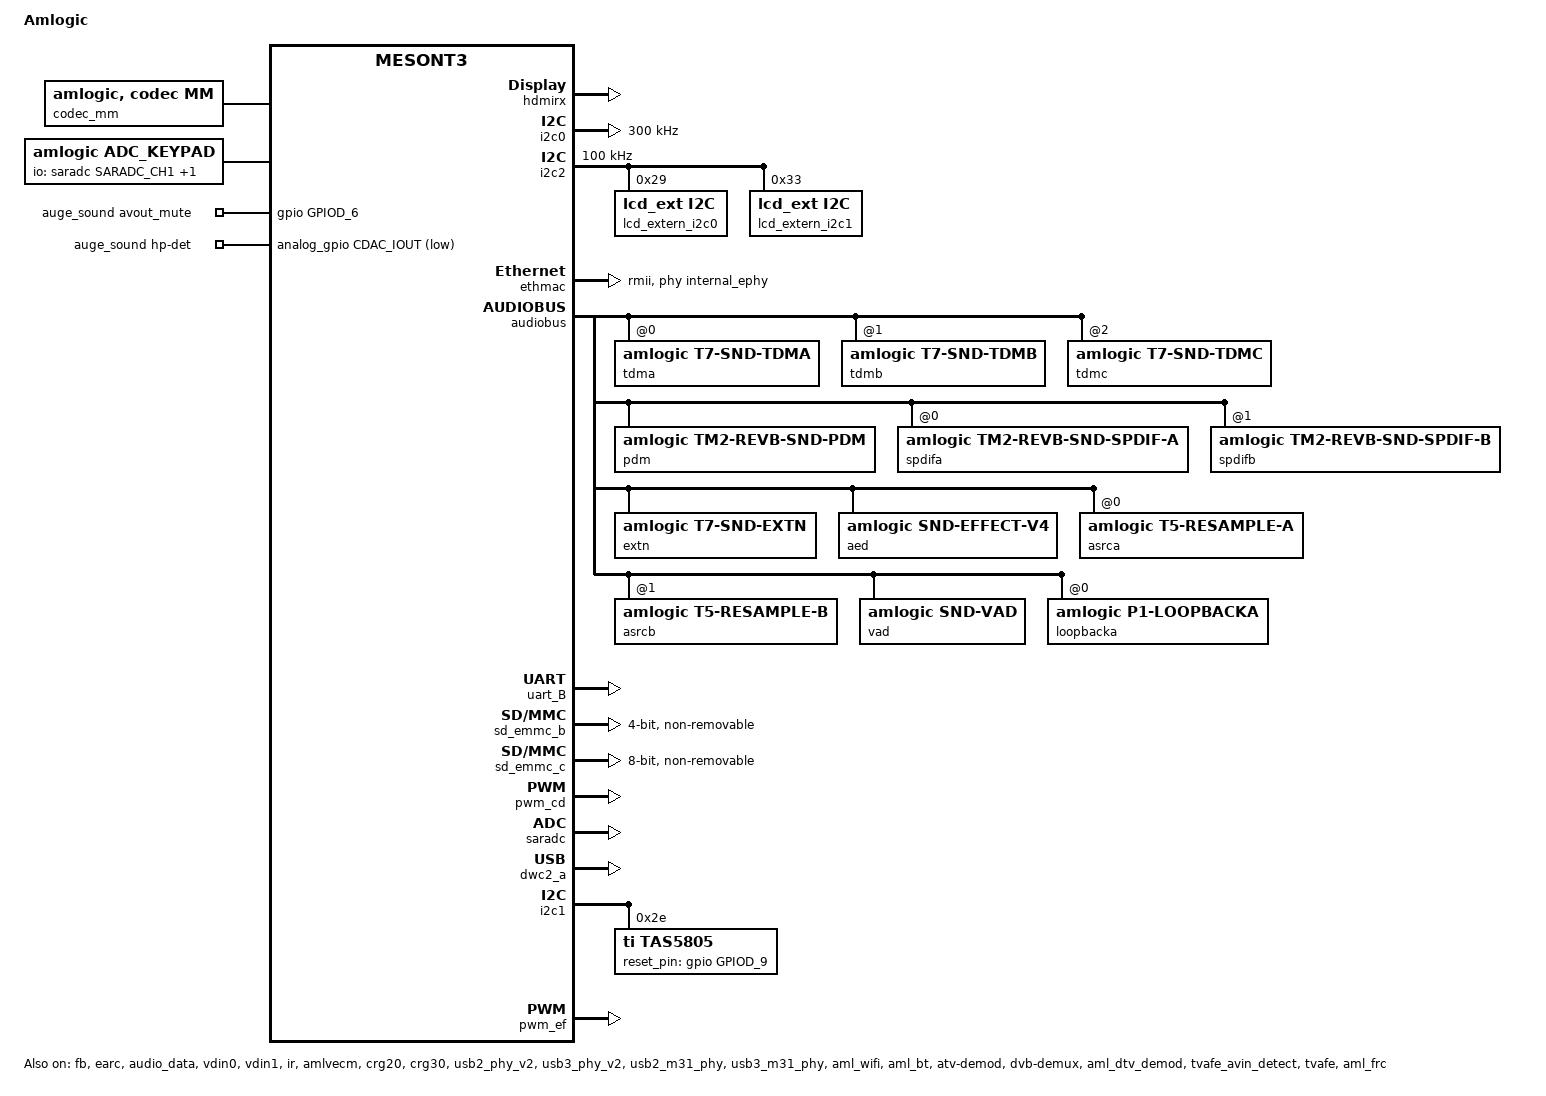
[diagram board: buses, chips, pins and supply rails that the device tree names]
// SPDX-License-Identifier: (GPL-2.0+ OR MIT)
/*
 * Copyright (c) 2019 Amlogic, Inc. All rights reserved.
 */

/dts-v1/;

#include "mesont3.dtsi"
#include "partition_mbox_ab.dtsi"
#include "mesont3_ar331-panel.dtsi"

/ {
	model = "Amlogic";
	amlogic-dt-id = "t3_t965d4_ar331-4g";
	compatible = "amlogic, t3";
	interrupt-parent = <&gic>;
	#address-cells = <2>;
	#size-cells = <2>;

	aliases {
		serial0 = &uart_B;
		serial1 = &uart_A;
		serial2 = &uart_C;
		serial3 = &uart_D;
		tsensor0 = &cpu_tsensor;
		tsensor1 = &nna_tsensor;
		tsensor2 = &vpu_tsensor;
		spi0 = &spifc;
		spi1 = &spicc0;
		spi2 = &spicc1;
		spi3 = &spicc2;
	};

	memory@00000000 {
		device_type = "memory";
		linux,usable-memory = <0x0 0x000000 0x0 0xe0000000
				       0x1 0x000000 0x0 0x20000000>;
	};

	reserved-memory {
		#address-cells = <2>;
		#size-cells = <2>;
		ranges;

		ramoops@0x07400000 {
			compatible = "ramoops";
			reg = <0x0 0x07400000 0x0 0x00100000>;
			record-size = <0x20000>;
			console-size = <0x40000>;
			ftrace-size = <0x80000>;
			pmsg-size = <0x10000>;
			bconsole-size = <0x10000>;
		};

		secmon_reserved:linux,secmon {
			compatible = "shared-dma-pool";
			reusable;
			size = <0x0 0x400000>;
			alignment = <0x0 0x400000>;
			alloc-ranges = <0x0 0x05000000 0x0 0x400000>;
			clear-map;
		};

		dsp_fw_reserved:linux,dsp_fw {
			compatible = "shared-dma-pool";
			reusable;
			/* for sync of dsp fw, fix it to 0x30000000*/
			size = <0x0 0x00800000>;
			alignment = <0x0 0x00400000>;
			alloc-ranges = <0x0 0x30000000 0x0 0x00800000>;
		};

		logo_reserved:linux,meson-fb {
			compatible = "shared-dma-pool";
			reusable;
			/* keep sync with fb, fox example:logo_addr = "0x7f800000"*/
			size = <0x0 0x800000>;
			alignment = <0x0 0x400000>;
			alloc-ranges = <0x0 0x7f800000 0x0 0x800000>;
		};

		lcd_tcon_reserved:linux,lcd_tcon {
			compatible = "shared-dma-pool";
			reusable;
			/* alloc-ranges start should not be 0x0*/
			size = <0x0 0x00c00000>;
			alignment = <0x0 0x400000>;
			alloc-ranges = <0x0 0x3ec00000 0x0 0x00c00000>;
		};

		ion_cma_reserved:linux,ion-dev {
			compatible = "shared-dma-pool";
			reusable;
			size = <0x0 0x8000000>;
			alignment = <0x0 0x400000>;
			alloc-ranges = <0x0 0x0 0x0 0xe0000000>;
		};
		/* secure ion for gpu,advice size is 0x8000000 */
		ion_secure_reserved:linux,ion-secure {
			compatible = "amlogic, ion-secure-mem";
			no-map;
			size = <0x0 0x0000000>;
			alignment = <0x0 0x400000>;
		};
		ion_fb_reserved:linux,ion-fb {
			compatible = "shared-dma-pool";
			reusable;
			/* 1920x1080x4x3 round up 4M align */
			size = <0x0 0x1c00000>;
			alignment = <0x0 0x400000>;
			alloc-ranges = <0x0 0x0 0x0 0xe0000000>;
		};

		/*  vdin0 CMA pool */
		/*vdin0_cma_reserved:linux,vdin0_cma {*/
		/*	compatible = "shared-dma-pool";*/
		/*	reusable;*/
			/* up to 1920x1080 yuv422 8bit and 5 buffers
			 * 1920x1080x2x5 = 20 M
			 */
		/*	size = <0x0 0x01400000>;*/
		/*	alignment = <0x0 0x400000>;*/
		/*};*/
		/*  vdin1 CMA pool */
		vdin1_cma_reserved:linux,vdin1_cma {
			compatible = "shared-dma-pool";
			reusable;
			/* up to 1920x1080 yuv422 8bit and 5 buffers
			 * 1920x1080x2x5 = 20 M
			 */
			size = <0x0 0x01400000>;
			alignment = <0x0 0x400000>;
			alloc-ranges = <0x0 0x0 0x0 0xe0000000>;
		};

		codec_mm_cma:linux,codec_mm_cma {
			compatible = "shared-dma-pool";
			reusable;
			/* ion_codec_mm max can alloc size 80M*/
			size = <0x0 0x1BC00000>;
			alignment = <0x0 0x400000>;
			linux,contiguous-region;
			alloc-ranges = <0x0 0x0 0x0 0xe0000000>;
		};

		/*di CMA pool */
		di_cma_reserved:linux,di_cma {
			compatible = "shared-dma-pool";
			reusable;
			/* buffer_size = 3621952(yuv422 8bit)
			 *  | 4736064(yuv422 10bit)
			 *  | 4074560(yuv422 10bit full pack mode)
			 * 10x3621952=34.6M(0x23) support 8bit
			 * 10x4736064=45.2M(0x2e) support 12bit
			 * 10x4074560=40M(0x28) support 10bit
			 */
			//size = <0x0 0x0B000000>;
			size = <0x0 0x0>;
			alignment = <0x0 0x400000>;
		};
		/* codec shared reserved */
		codec_mm_reserved:linux,codec_mm_reserved {
			compatible = "amlogic, codec-mm-reserved";
			size = <0x0 0x0>;
			alignment = <0x0 0x100000>;
			//no-map;
		};

		/* POST PROCESS MANAGER */
		ppmgr_reserved:linux,ppmgr {
			compatible = "amlogic, ppmgr_memory";
			size = <0x0 0x0>;
		};

		picdec_cma_reserved:linux,picdec {
			compatible = "shared-dma-pool";
			reusable;
			size = <0x0 0x0>;
			alignment = <0x0 0x0>;
			linux,contiguous-region;
		};

		frc_cma_reserved:linux,frc_cma {
			compatible = "shared-dma-pool";
			reusable;
			/* frc:size need 4M alignment
			 * 1080P 16 buffer:88Mhz (0x5800000)
			 * 4k 16 buffer:348Mhz (0x15c00000)
			 * 400Mhz (0x19000000)
			 * 384Mhz (0x18000000)
			 * 368Mhz (0x17000000)
			 */
			size = <0x0 0x0a000000>;
			alignment = <0x0 0x400000>;
			linux,contiguous-region;
			alloc-ranges = <0x0 0x0 0x0 0xe0000000>;
			/*alloc-ranges = <0x0 0x0 0x0 0x3f800000>;*/
		};

		demod_cma_reserved:linux,demod_cma {
			compatible = "shared-dma-pool";
			reusable;
			/* 40M */
			size = <0x0 0x02800000>;
			alignment = <0x0 0x400000>;
			linux,contiguous-region;
			alloc-ranges = <0x0 0x0 0x0 0xe0000000>;
		};

		ldc_mem_reserved:linux,ldc_mem {
			compatible = "shared-dma-pool";
			reusable;
			size = <0x0 0x400000>;
			alignment = <0x0 0x400000>;
			alloc-ranges = <0x0 0x0 0x0 0xe0000000>;
		};
	};
	codec_mm {
		compatible = "amlogic, codec, mm";
		memory-region = <&codec_mm_cma &codec_mm_reserved>;
		dev_name = "codec_mm";
		status = "okay";
	};

	ionvideo {
		compatible = "amlogic, ionvideo";
		dev_name = "ionvideo";
		status = "okay";
	};

	picdec {
		compatible = "amlogic, picdec";
		memory-region = <&picdec_cma_reserved>;
		dev_name = "picdec";
		status = "okay";
	};
	ppmgr {
		compatible = "amlogic, ppmgr";
		memory-region = <&ppmgr_reserved>;
		//ary interrupts = <0 285 1>;
		//ary interrupt-names = "decontour_pre";
		status = "okay";
	};
	vdetect {
		compatible = "amlogic, vdetect";
		dev_name = "vdetect";
		status = "okay";
	};

	video_queue {
		compatible = "amlogic, video_queue";
		dev_name = "videoqueue";
		status = "okay";
	};
	amlvideo2_0 {
		compatible = "amlogic, amlvideo2";
		dev_name = "amlvideo2";
		status = "okay";
		amlvideo2_id = <0>;
		cma_mode = <1>;
	};

	amlvideo2_1 {
		compatible = "amlogic, amlvideo2";
		dev_name = "amlvideo2";
		status = "okay";
		amlvideo2_id = <1>;
		cma_mode = <1>;
	};

	multi-di {
		//status = "okay";
		/***************************************************
		 * memory: default is 4
		 *	0:use reserved;
		 *	1:use cma;
		 *	2:use cma as reserved
		 *  4:use codec mem
		 ***************************************************/
		//flag_cma = <4>;//t5d unsupport 4K,di 1CH need 42M
		//memory-region = <&di_cma_reserved>;
		/***************************************************
		 * clock-range: <min max>
		 *	default: <334 334>
		 ***************************************************/
		//clock-range = <334 334>;
		/***************************************************
		 * en_4k: t5d not support 4k
		 ***************************************************/
		en_4k = <1>;
		keep_dec_vf = <2>;
		po_fmt = <6>;
		/***************************************************
		 * post_nub: default is 11 (T7/T3/SC2/S4 new path)
		 * local 7*4075520 = 28
		 * post 11*5222400 = 56
		 ***************************************************/
		post_nub = <11>;
		/***************************************************
		 * 0:not support
		 * bit 0: for 4k
		 * bit 1: for 1080p
		 ***************************************************/
		alloc_sct = <1>;
		/***************************************************
		 * hf: default is 0 (T7/T3/SC2/S4 new path)
		 * 0:not enable;
		 * 1: enable
		 ***************************************************/
		//hf = <1>;
	};

	/* for external keypad */
	adc_keypad {
		compatible = "amlogic, adc_keypad";
		status = "okay";
		key_name = "power","vol-","vol+","enter","menu","source","exit";
		key_num = <7>;
		io-channels = <&saradc SARADC_CH1>,<&saradc SARADC_CH2>;
		io-channel-names = "key-chan-1", "key-chan-2";
		key_chan = <SARADC_CH1 SARADC_CH1 SARADC_CH1 SARADC_CH1
			SARADC_CH2 SARADC_CH2 SARADC_CH2>;
		key_code = <116 114 115 28 139 466 174>;
		key_val = <0 143 266 389 0 143 266>; //val=voltage/1800mV*1023
		key_tolerance = <40 40 40 40 40 40 40>;
	};

	provisionkey {
		compatible = "amlogic, provisionkey";
		status = "disabled";
		key-permit-default = "write";
		KEY_PROVISION_XXX { };
	};//End provisionkey

	unifykey {
		compatible = "amlogic,unifykey";
		status = "okay";

		unifykey-num = <26>;
		unifykey-index-0 = <&keysn_0>;
		unifykey-index-1 = <&keysn_1>;
		unifykey-index-2 = <&keysn_2>;
		unifykey-index-3 = <&keysn_3>;
		unifykey-index-4 = <&keysn_4>;
		unifykey-index-5 = <&keysn_5>;
		unifykey-index-6 = <&keysn_6>;
		unifykey-index-7 = <&keysn_7>;
		unifykey-index-8 = <&keysn_8>;
		unifykey-index-9 = <&keysn_9>;
		unifykey-index-10= <&keysn_10>;
		unifykey-index-11 = <&keysn_11>;
		unifykey-index-12 = <&keysn_12>;
		unifykey-index-13 = <&keysn_13>;
		unifykey-index-14 = <&keysn_14>;
		unifykey-index-15 = <&keysn_15>;
		unifykey-index-16 = <&keysn_16>;
		unifykey-index-17 = <&keysn_17>;
		unifykey-index-18 = <&keysn_18>;
		unifykey-index-19 = <&keysn_19>;
		unifykey-index-20 = <&keysn_20>;
		unifykey-index-21 = <&keysn_21>;
		unifykey-index-22 = <&keysn_22>;
		unifykey-index-23 = <&keysn_23>;
		unifykey-index-24 = <&keysn_24>;
		unifykey-index-25 = <&keysn_25>;

		keysn_0: key_0{
			key-name = "usid";
			key-device = "normal";
			key-permit = "read","write","del";
		};
		keysn_1:key_1{
			key-name = "mac";
			key-device  = "normal";
			key-permit = "read","write","del";
		};
		keysn_2:key_2{
			key-name = "hdcp";
			key-device = "secure";
			key-type  = "sha1";
			key-permit = "read","write","del";
		};
		keysn_3:key_3{
			key-name = "secure_boot_set";
			key-device = "efuse";
			key-permit = "write";
		};
		keysn_4:key_4{
			key-name = "mac_bt";
			key-device = "normal";
			key-permit = "read","write","del";
			key-type  = "mac";
		};
		keysn_5:key_5{
			key-name = "mac_wifi";
			key-device = "normal";
			key-permit = "read","write","del";
			key-type  = "mac";
		};
		keysn_6:key_6{
			key-name = "hdcp2_tx";
			key-device = "normal";
			key-permit = "read","write","del";
		};
		keysn_7:key_7{
			key-name = "hdcp2_rx";
			key-device = "normal";
			key-permit = "read","write","del";
		};
		keysn_8:key_8{
			key-name = "widevinekeybox";
			key-device = "secure";
			key-type = "sha1";
			key-permit = "read","write","del";
		};
		keysn_9:key_9{
			key-name = "deviceid";
			key-device = "normal";
			key-permit = "read","write","del";
		};
		keysn_10:key_10{
			key-name = "hdcp22_fw_private";
			key-device = "secure";
			key-permit = "read","write","del";
		};
		keysn_11:key_11{
			key-name = "hdcp22_rx_private";
			key-device = "secure";
			key-permit = "read","write","del";
		};
		keysn_12:key_12{
			key-name = "hdcp22_rx_fw";
			key-device = "normal";
			key-permit = "read","write","del";
		};
		keysn_13:key_13{
			key-name = "hdcp14_rx";
			key-device = "normal";
			key-type  = "sha1";
			key-permit = "read","write","del";
		};
		keysn_14:key_14{
			key-name = "prpubkeybox";// PlayReady
			key-device = "secure";
			key-permit = "read","write","del";
		};
		keysn_15:key_15{
			key-name = "prprivkeybox";// PlayReady
			key-device = "secure";
			key-permit = "read","write","del";
		};
		keysn_16:key_16{
			key-name = "lcd";
			key-device = "normal";
			key-permit = "read","write","del";
		};
		keysn_17:key_17{
			key-name = "lcd_extern";
			key-device = "normal";
			key-permit = "read","write","del";
		};
		keysn_18:key_18{
			key-name = "backlight";
			key-device = "normal";
			key-permit = "read","write","del";
		};
		keysn_19:key_19{
			key-name = "lcd_tcon";
			key-device = "normal";
			key-permit = "read","write","del";
		};
		keysn_20:key_20{
			key-name = "attestationkeybox";// attestation key
			key-device = "secure";
			key-permit = "read","write","del";
		};
		keysn_21:key_21{
			key-name = "lcd_tcon_spi";
			key-device = "normal";
			key-permit = "read","write","del";
		};
		keysn_22:key_22{
			key-name = "attestationdevidbox";// attest dev id box
			key-device = "secure";
			key-permit = "read","write","del";
		};
		keysn_23:key_23{
			key-name = "oemkey";
			key-device = "normal";
			key-permit = "read","write","del";
		};
		keysn_24:key_24{
			key-name = "ldim_dev";
			key-device = "normal";
			key-permit = "read","write","del";
		};
		keysn_25:key_25{
			key-name = "lcd_optical";
			key-device = "normal";
			key-permit = "read","write","del";
		};
	}; /* End unifykey */

	cvbsout {
		compatible = "amlogic, cvbsout-t3";
		status = "okay";
		/* clk path */
		/* 0:vid_pll vid2_clk */
		/* 2:vid_pll vid1_clk */
		clk_path = <0>;

		/* performance: reg_address, reg_value */
		/* tm2 */
		performance = <0x1bf0  0x9
			0x1b56  0x333
			0x1b12  0x8080
			0x1b05  0xfd
			0x1c59  0xf850
			0xffff  0x0>; /* ending flag */
		performance_sarft = <0x1bf0  0x9
			0x1b56  0x333
			0x1b12  0x0
			0x1b05  0x9
			0x1c59  0xfc48
			0xffff  0x0>; /* ending flag */
		performance_revB_telecom = <0x1bf0  0x9
			0x1b56  0x546
			0x1b12  0x8080
			0x1b05  0x9
			0x1c59  0xf850
			0xffff  0x0>; /* ending flag */
	};

	hdmirx {
		compatible = "amlogic, hdmirx_t3";
		#address-cells=<1>;
		#size-cells=<1>;
		/*memory-region = <&hdmirx_emp_cma_reserved>;*/
		status = "okay";
		pinctrl-names = "hdmirx_pins";
		pinctrl-0 = <&hdmirx_a_mux &hdmirx_b_mux
			&hdmirx_c_mux>;
		repeat = <0>;
		power-domains = <&pwrdm PDID_T3_HDMIRX>;
		interrupts = <0 57 IRQ_TYPE_LEVEL_HIGH>;
		clocks =<&clkc CLKID_HDMIRX_CFG>,
			   <&clkc CLKID_HDMIRX_ACR>,
			   <&clkc CLKID_HDMIRX_METER>,
			   <&clkc CLKID_HDMIRX_2M>,
			   <&clkc CLKID_HDMIRX_5M>,
			   <&clkc CLKID_HDMIRX_HDCP>,
			   <&xtal>,
			   <&clkc CLKID_FCLK_DIV4>,
			   <&clkc CLKID_FCLK_DIV5>;
		clock-names = "hdmirx_cfg_clk",
				"cts_hdmirx_acr_ref_clk",
				"cts_hdmirx_meter_clk",
				"cts_hdmirx_2m_clk",
				"cts_hdmirx_5m_clk",
				"cts_hdmirx_hdcp2x_eclk",
				"xtal",
				"fclk_div4",
				"fclk_div5";
		hdmirx_id = <0>;
		en_4k_2_2k = <0>;
		hpd_low_cec_off = <0>;
		arc_port = <1>;
		vrr_range_dynamic_update_en = <1>;
		/* bit4: enable feature, bit3~0: port number */
		disable_port = <0x0>;
		/* MAP_ADDR_MODULE_CBUS */
		/* MAP_ADDR_MODULE_HIU */
		/* MAP_ADDR_MODULE_HDMIRX_CAPB3 */
		/* MAP_ADDR_MODULE_SEC_AHB */
		/* MAP_ADDR_MODULE_SEC_AHB2 */
		/* MAP_ADDR_MODULE_APB4 */
		/* MAP_ADDR_MODULE_TOP */
		/* MAP_ADDR_MODULE_CLK_CTRL */
		/* MAP_ADDR_MODULE_ANA_CTRL */
		reg = < 0x0 0x0 0x0 0x0
			0x0 0xff63C000 0x0 0x2000
			0x0 0xffe0d000 0x0 0x2000
			0x0 0x0 0x0 0x0
			0x0 0x0 0x0 0x0
			0x0 0x0 0x0 0x0
			0x0 0xfe398000 0x0 0x18000
			0x0 0xfe000000 0x0 0x1fff
			0x0 0xfe008000 0x280 0x334>;
	};

	atv-demod {
		compatible = "amlogic, atv-demod";
		status = "okay";
		btsc_sap_mode = <1>;
		interrupts = <0 94 1>;
		pinctrl-names="atvdemod_agc_pins";
		pinctrl-0=<&atvdemod_agc_pins>;
		reg = <0x0 0xfe0be000 0x0 0x2000 /* demod reg */
				0x0 0xfe000000 0x0 0x2000 /* hiu reg */
				0x0 0x0 0x0 0x0 /* periphs reg */
				0x0 0xfe0bc000 0x0 0x2000>; /* adec reg */
		reg_23cf = <0x88188832>;
		/*default:0x88188832;r840 on haier:0x48188832*/
	};

	dvb-extern {
		compatible = "amlogic, dvb-extern";
		dev_name = "dvb-extern";
		status = "okay";

		fe_num = <1>;
		fe0_demod = "internal";

		tuner_num = <2>; /* tuner number, multi tuner support */
		tuner0_name = "r842_tuner";
		tuner0_i2c_adap = <&i2c0>;
		tuner0_i2c_addr = <0xF6>; /* 8 bits */
		tuner0_xtal = <1>; /* 0: 16MHz, 1: 24MHz */
		tuner0_xtal_mode = <3>;
					/* NO_SHARE_XTAL(0)
					 * SLAVE_XTAL_SHARE(3)
					 */
		tuner0_xtal_cap = <38>;

		tuner1_name = "rt710_tuner";
		tuner1_i2c_adap = <&i2c0>;
		tuner1_i2c_addr = <0xF4>; /* 8 bits */
		tuner1_xtal = <0>; /* 0: 16MHz, 1: 24MHz */
		tuner1_xtal_mode = <0>;
					/* NO_SHARE_XTAL(0)
					 * SLAVE_XTAL_SHARE(3)
					 */
		tuner1_xtal_cap = <30>;
	};

	dvb-demux {
		compatible = "amlogic sc2, dvb-demux"; /* same as sc2 */
		dev_name = "dvb-demux";
		status = "okay";

		reg = <0x0 0xfe000000 0x0 0x480000>;

		dmxdev_num = <4>;

		tsn_from = "demod";

		/*single demod setting */
		ts1_sid = <0x21>;
		ts1 = "parallel";
		ts1_control = <0x0>;
		ts1_invert = <0>;

		ts2_sid = <0x22>;
		ts2 = "parallel";
		ts2_control = <0x0>;
		ts2_invert = <0>;
		pinctrl-names = "p_ts2";
		pinctrl-0 = <&dvb_p_ts2_pins>;
	};

	dvbci {
		compatible = "amlogic, dvbci";
		dev_name = "dvbci";
		io_type = <4>; /* 0=iobus,1=spi,2=cimax,3=spi-t312 4:T5D,ci bus*/
		le_enable_level = <1>; /*LE pin enable level*/
		/*gpio pin define*/
		pinctrl-names= "ci_ts_pins", "ci_addr_pins";
		pinctrl-0=<&dvb_ci_bus_pins &ci_ts_pins &ci_ts_clk_pins>;
		pinctrl-1=<&dvb_ci_bus_pins &ci_addr_pins &ci_gpio_pins>;
		reg = <0x0 0xFE080000 0x0 0x1FFF>;
		/*irq define*/
		interrupts = <0 186 1
				0 187 1>;
		interrupt-names = "irq_cmp",
					"irq_timeout";
		dvbci_io {
			/*gpio define  GPIOM_27 GPIOM_28*/
			cd_pin1 = <&gpio       GPIOM_27       GPIO_ACTIVE_HIGH>;
			pwr_pin = <&gpio       GPIOM_28       GPIO_ACTIVE_HIGH>;
			le_pin = <&gpio       GPIOM_30       GPIO_ACTIVE_HIGH>;
		};
	};

	aml_dtv_demod {
		compatible = "amlogic, ddemod-t3";
		dev_name = "aml_dtv_demod";
		status = "okay";
		diseqc_name = "sgm_41286";
		pinctrl-names="if_agc_pins", "diseqc", "rf_agc_pins";
		pinctrl-0=<&dtvdemod_if_agc_pins>;
		pinctrl-1=<&diseqc_out>;
		pinctrl-2=<&dtvdemod_rf_agc_pins>;
		lnb_en-gpios = <&gpio GPIOZ_2 GPIO_ACTIVE_HIGH>;
		lnb_sel-gpios = <&gpio GPIOZ_3 GPIO_ACTIVE_HIGH>;
		interrupts = <GIC_SPI 87 IRQ_TYPE_EDGE_RISING>;
		interrupt-names = "demod_isr";
		power-domains = <&pwrdm PDID_T3_DEMOD>;
		clocks = <&clkc CLKID_DEMOD_32K>;
		clock-names = "demod_32k";
		reg = <0x0 0xfe360000 0x0 0x10000	/*dtv demod base*/
			   0x0 0xfe000000 0x0 0x2000	/*hiu reg base*/
			   0x0 0xff800000 0x0 0x1000	/*io_aobus_base*/
			   0x0 0xfe002000 0x0 0x2000	/*reset*/
			>;

		dtv_demod0_mem = <0>;	// need move to aml_dtv_demod ?
		spectrum = <1>;
		cma_flag = <1>;
		cma_mem_size = <8>;
		memory-region = <&demod_cma_reserved>;//<&demod_reserved>;
	};

	/* Audio Related start */
	auge_sound {
		compatible = "amlogic, auge-sound-card";
		aml-audio-card,name = "AML-AUGESOUND";

		/*avout mute gpio*/
		avout_mute-gpios = <&gpio GPIOD_6 GPIO_ACTIVE_HIGH>;
		//spk_mute-gpios = <&gpio GPIOD_2 GPIO_ACTIVE_LOW>;

		/* headphone insert det */
		aml-audio-card,hp-det-gpio = <&analog_gpio CDAC_IOUT GPIO_ACTIVE_LOW>;

		interrupts = <GIC_SPI 51 IRQ_TYPE_EDGE_RISING>;
		interrupt-names = "audio_exception64";

		status = "okay";

		aml-audio-card,dai-link@0 {
			format = "i2s";
			mclk-fs = <256>;
			//continuous-clock;
			//bitclock-inversion;
			//frame-inversion;
			/* master mode */
			bitclock-master = <&tdma>;
			frame-master = <&tdma>;
			/* slave mode */
			/*
			 * bitclock-master = <&tdmacodec>;
			 * frame-master = <&tdmacodec>;
			 */
			/* suffix-name, sync with android audio hal used for */
			suffix-name = "alsaPORT-pcm";
			cpu {
				sound-dai = <&tdma>;
				dai-tdm-slot-tx-mask = <1 1>;
				dai-tdm-slot-rx-mask = <1 1>;
				dai-tdm-slot-num = <2>;
				dai-tdm-slot-width = <32>;
				system-clock-frequency = <12288000>;
			};
			tdmacodec: codec {
				sound-dai = <&dummy_codec>;
			};
		};

		aml-audio-card,dai-link@1 {
			format = "i2s";
			mclk-fs = <256>;
			//continuous-clock;
			//bitclock-inversion;
			//frame-inversion;
			/* master mode */
			bitclock-master = <&tdmb>;
			frame-master = <&tdmb>;
			/* slave mode */
			//bitclock-master = <&tdmbcodec>;
			//frame-master = <&tdmbcodec>;
			/* suffix-name, sync with android audio hal used for */
			suffix-name = "alsaPORT-i2s-i2s4hdmirx";
			cpu {
				sound-dai = <&tdmb>;
				dai-tdm-slot-tx-mask = <1 1>;
				dai-tdm-slot-rx-mask = <1 1>;
				dai-tdm-slot-num = <2>;
				/*
				 * dai-tdm-slot-tx-mask =
				 *	<1 1 1 1 1 1 1 1>;
				 * dai-tdm-slot-rx-mask =
				 *	<1 1 1 1 1 1 1 1>;
				 * dai-tdm-slot-num = <8>;
				 */
				dai-tdm-slot-width = <32>;
				system-clock-frequency = <12288000>;
			};
			tdmbcodec: codec {
				prefix-names = "AMP";
				sound-dai = <&tas5805 &acodec>;
			};
		};

		aml-audio-card,dai-link@2 {
			format = "i2s";
			mclk-fs = <256>;
			//continuous-clock;
			//bitclock-inversion;
			//frame-inversion;
			/* master mode */
			bitclock-master = <&tdmc>;
			frame-master = <&tdmc>;
			/* slave mode */
			//bitclock-master = <&tdmccodec>;
			//frame-master = <&tdmccodec>;
			/* suffix-name, sync with android audio hal used for */
			suffix-name = "alsaPORT-i2s4parser";
			cpu {
				sound-dai = <&tdmc>;
				dai-tdm-slot-tx-mask = <1 1>;
				dai-tdm-slot-rx-mask = <1 1>;
				dai-tdm-slot-num = <2>;
				dai-tdm-slot-width = <32>;
				system-clock-frequency = <12288000>;
			};
			tdmccodec: codec {
				sound-dai = <&dummy_codec>;
			};
		};

		aml-audio-card,dai-link@3 {
			mclk-fs = <64>;
			/* suffix-name, sync with android audio hal used for */
			suffix-name = "alsaPORT-pdm-builtinmic";
			cpu {
				sound-dai = <&pdm>;
			};
			codec {
				sound-dai = <&dummy_codec>;
			};
		};

		aml-audio-card,dai-link@4 {
			mclk-fs = <128>;
			continuous-clock;
			/* suffix-name, sync with android audio hal used for */
			suffix-name = "alsaPORT-spdif";
			cpu {
				sound-dai = <&spdifa>;
				system-clock-frequency = <6144000>;
			};
			codec {
				sound-dai = <&dummy_codec>;
			};
		};

		aml-audio-card,dai-link@5 {
			mclk-fs = <128>;
			suffix-name = "alsaPORT-spdifb";
			cpu {
				sound-dai = <&spdifb>;
				system-clock-frequency = <6144000>;
			};
			codec {
				sound-dai = <&dummy_codec>;
			};
		};

		aml-audio-card,dai-link@6 {
			mclk-fs = <256>;
			suffix-name = "alsaPORT-tv";
			cpu {
				sound-dai = <&extn>;
				system-clock-frequency = <12288000>;
			};
			codec {
				sound-dai = <&dummy_codec>;
			};
		};

		aml-audio-card,dai-link@7 {
			mclk-fs = <256>;
			suffix-name = "alsaPORT-earc";
			cpu {
				sound-dai = <&earc>;
				system-clock-frequency = <12288000>;
			};
			codec {
				sound-dai = <&dummy_codec>;
			};
		};

		aml-audio-card,dai-link@8 {
			mclk-fs = <256>;
			continuous-clock;
			suffix-name = "alsaPORT-loopback";
			cpu {
				sound-dai = <&loopbacka>;
				system-clock-frequency = <12288000>;
			};
			codec {
				sound-dai = <&dummy_codec>;
			};
		};
	};
	/* Audio Related end */

	tvafe_avin_detect {
		compatible = "amlogic, t3_tvafe_avin_detect";
		status = "okay";
		device_mask = <1>;/*bit0:ch1;bit1:ch2*/
		reg = <0x0 0xfe00a000 0x0 0x400>; /* cvbs irq base */
		interrupts = <0 173 1>,
				<0 172 1>;
	};

	tvafe {
		compatible = "amlogic, tvafe-t3";
		/*memory-region = <&tvafe_cma_reserved>;*/
		status = "okay";
		flag_cma = <1>;/*1:share with codec_mm;0:cma alone*/
		cma_size = <5>;/*MByte*/
		reg = <0x0 0xfe072000 0x0 0x2000/*tvafe reg base*/
			0x0 0xfe008000 0x0 0x2000>; /*hiu reg base*/
		reserve-iomap = "true";
		tvafe_id = <0>;
		//pinctrl-names = "default";
		/*!!particular sequence, no more and no less!!!*/
		tvafe_pin_mux = <
				3 /* TVAFE_CVBS_IN2, CVBS_IN0 = 0 */
				1 /* TVAFE_CVBS_IN0, CVBS_IN1 */
				2 /* TVAFE_CVBS_IN1, CVBS_IN2 */
				4 /* TVAFE_CVBS_IN3, CVBS_IN3 */
		>;
		clocks = <&clkc CLKID_CDAC_CLK>;
		clock-names = "vdac_clk_gate";
		cutwindow_val_h = <0 0 0 0 8>; /* level 0~4 */
		cutwindow_val_v = <4 8 14 16 24>;  /* level 0~4 */
	};

	vbi {
		compatible = "amlogic, vbi";
		status = "okay";
		interrupts = <0 210 1>;
	};

	aml_frc {
		compatible = "amlogic, t3_frc";
		dev_name = "aml_frc";
		status = "okay";
		frc_en = <1>;/*1:enabel ;0:disable*/
		frc_hw_pos = <0>;/*0:before postblend; 1:after postblend*/
		interrupts = <GIC_SPI 286 IRQ_TYPE_EDGE_RISING
				GIC_SPI 287 IRQ_TYPE_EDGE_RISING
				GIC_SPI 271 IRQ_TYPE_EDGE_RISING>;
		interrupt-names = "irq_frc_in", "irq_frc_out", "irq_frc_rdma";
		memory-region = <&frc_cma_reserved>;
		clocks = <&clkc CLKID_FRC>, <&clkc CLKID_ME>;
		clock-names = "clk_frc", "clk_me";
		power-domains = <&pwrdm PDID_T3_FRCTOP>, <&pwrdm PDID_T3_FRCME>,
				<&pwrdm PDID_T3_FRCMC>;
		power-domain-names = "frc-top","frc-me","frc-mc";
		reg = <0x0 0xFF050000 0x0 0x30000 /*frc reg*/
		       0x0 0xFE000000 0x0 0x300
		       0x0 0xFF000000 0x0 0x10000>; /*frc clk reg*/
		reg-names = "frc_reg","frc_clk_reg","vpu_reg";
	};

	aml_vpp {
		compatible = "amlogic, vpp-t3";
		dev_name = "aml_vpp";
		status = "disabled";
		pq_en = <1>;
	};
}; /* end of / */

&i2c0 {
	status = "okay";
	clock-frequency = <300000>;
	pinctrl-names="default";
	pinctrl-0=<&i2c0_pins1>;
};

&i2c2 {
	status = "okay";
	clock-frequency = <100000>;
	pinctrl-names="default";
	pinctrl-0=<&i2c2_pins2>;

	lcd_extern_i2c0: lcd_extern_i2c@29 {
		compatible = "lcd_ext, i2c";
		dev_name = "i2c_HV650LS";
		reg = <0x29>;
		status = "okay";
	};

	lcd_extern_i2c1: lcd_extern_i2c@33 {
		compatible = "lcd_ext, i2c";
		dev_name = "i2c_CS602";
		reg = <0x33>;
		status = "okay";
	};
};

&ethmac {
	status = "okay";
	phy-handle = <&internal_ephy>;
	phy-mode = "rmii";
	mc_val = <0x4be04>;
};

&fb {
	status = "okay";
	display_size_default = <1920 1080 1920 2160 32>;
	mem_size = <0x00800000 0x1980000 0x100000 0x100000>;
	logo_addr = "0x7f800000";
	mem_alloc = <0>;
	pxp_mode = <0>; /** 0:normal mode 1:pxp mode */
};

&audiobus {
	tdma:tdm@0 {
		compatible = "amlogic, t7-snd-tdma";
		#sound-dai-cells = <0>;

		dai-tdm-lane-slot-mask-in = <1 0>;
		dai-tdm-lane-slot-mask-out = <1 1>;
		dai-tdm-clk-sel = <0>;

		clocks = <&clkaudio CLKID_AUDIO_MCLK_A
				&clkc CLKID_MPLL0>;
		clock-names = "mclk", "clk_srcpll";

		status = "okay";
	};

	tdmb:tdm@1 {
		compatible = "amlogic, t7-snd-tdmb";
		#sound-dai-cells = <0>;

		dai-tdm-lane-slot-mask-in = <1 1 1 1>;
		dai-tdm-lane-slot-mask-out = <1 1 1 1>;
		dai-tdm-clk-sel = <1>;

		clocks = <&clkaudio CLKID_AUDIO_MCLK_B
				&clkaudio CLKID_AUDIO_MCLK_PAD0
				&clkc CLKID_MPLL1>;
		clock-names = "mclk", "mclk_pad", "clk_srcpll";

		pinctrl-names = "tdm_pins", "tdmout_a_gpio";
		pinctrl-0 = </* &mclk_1_pins */
			&tdm_b_pins
			&tdm_d0_pins
			&tdm_clk_pins>;
		pinctrl-1 = <&tdmout_a_gpio>;
		/*
		 * 0: tdmout_a;
		 * 1: tdmout_b;
		 * 2: tdmout_c;
		 * 3: spdifout;
		 * 4: spdifout_b;
		 */
		samesource_sel = <3>;

		/* In for ACODEC_ADC */
		/* tdmin-src-name = "acodec_adc"; */
		tdmin-src-name = "hdmirx";
		/*enable default mclk(12.288M), before extern codec start*/
		start_clk_enable = <1>;
		ctrl_gain = <1>;
		/*tdm clk tuning enable*/
		clk_tuning_enable = <1>;
		status = "okay";

		/* !!!For --TV platform-- ONLY */
		Channel_Mask {
			/*i2s has 4 pins, 8channel, mux output*/
			Spdif_samesource_Channel_Mask = "i2s_2/3";
		};
	};

	tdmc:tdm@2 {
		compatible = "amlogic, t7-snd-tdmc";
		#sound-dai-cells = <0>;

		dai-tdm-lane-slot-mask-in = <1 1 1 1>;
		dai-tdm-lane-slot-mask-out = <1 0 0 0>;
		dai-tdm-clk-sel = <2>;

		clocks = <&clkaudio CLKID_AUDIO_MCLK_C
				&clkc CLKID_MPLL2>;
		clock-names = "mclk", "clk_srcpll";
		tdmin-src-name = "hdmirx";
		status = "okay";
	};

	pdm:pdm {
		compatible = "amlogic, tm2-revb-snd-pdm";
		#sound-dai-cells = <0>;

		clocks = <&clkaudio CLKID_AUDIO_GATE_PDM
			&clkc CLKID_FCLK_DIV3
			&clkc CLKID_MPLL3
			&clkaudio CLKID_AUDIO_PDMIN0
			&clkaudio CLKID_AUDIO_PDMIN1>;
		clock-names = "gate",
			"sysclk_srcpll",
			"dclk_srcpll",
			"pdm_dclk",
			"pdm_sysclk";

		pinctrl-names = "pdm_pins";
		pinctrl-0 = <&pdmin>;

		/* mode 0~4, defalut:1 */
		filter_mode = <1>;

		status = "okay";
	};

	spdifa:spdif@0 {
		compatible = "amlogic, tm2-revb-snd-spdif-a";
		#sound-dai-cells = <0>;

		clocks = <&clkc CLKID_MPLL0
				&clkc CLKID_FCLK_DIV4
				&clkaudio CLKID_AUDIO_GATE_SPDIFIN
				&clkaudio CLKID_AUDIO_GATE_SPDIFOUT_A
				&clkaudio CLKID_AUDIO_SPDIFIN
				&clkaudio CLKID_AUDIO_SPDIFOUT_A>;
		clock-names = "sysclk", "fixed_clk", "gate_spdifin",
				"gate_spdifout", "clk_spdifin", "clk_spdifout";
		interrupts =
				<GIC_SPI 35 IRQ_TYPE_EDGE_RISING>;

		interrupt-names = "irq_spdifin";
		pinctrl-names = "spdif_pins", "spdif_pins_mute";
		pinctrl-0 = <&spdifout_z>;
		pinctrl-1 = <&spdifout_z_mute>;

		samesource_sel = <5>;

		/*spdif clk tuning enable*/
		clk_tuning_enable = <1>;
		status = "okay";
	};

	spdifb:spdif@1 {
		compatible = "amlogic, tm2-revb-snd-spdif-b";
		#sound-dai-cells = <0>;

		clocks = <&clkc CLKID_MPLL2 /*CLKID_HIFI_PLL*/
				&clkaudio CLKID_AUDIO_GATE_SPDIFOUT_B
				&clkaudio CLKID_AUDIO_SPDIFOUT_B>;
		clock-names = "sysclk",
				"gate_spdifout", "clk_spdifout";

		status = "okay";
	};

	extn:extn {
		compatible = "amlogic, t7-snd-extn";
		#sound-dai-cells = <0>;

		interrupts =
				<GIC_SPI 42 IRQ_TYPE_EDGE_RISING>;
		interrupt-names = "irq_frhdmirx";

		status = "okay";
	};

	aed:effect {
		compatible = "amlogic, snd-effect-v4";
		#sound-dai-cells = <0>;

		clocks = <&clkaudio CLKID_AUDIO_GATE_EQDRC
			&clkc CLKID_FCLK_DIV5
			&clkaudio CLKID_AUDIO_EQDRC>;
		clock-names = "gate", "srcpll", "eqdrc";

		/*
		 * 0:tdmout_a
		 * 1:tdmout_b
		 * 2:tdmout_c
		 * 3:spdifout
		 * 4:spdifout_b
		 */
		eqdrc_module = <1>;
		/* max 0xf, each bit for one lane, usually one lane */
		lane_mask = <0x1>;
		/* max 0xff, each bit for one channel */
		channel_mask = <0xff>;

		status = "okay";
	};

	asrca:resample@0 {
		compatible = "amlogic, t5-resample-a";
		clocks = <&clkc CLKID_MPLL1
			&clkaudio CLKID_AUDIO_MCLK_B
			&clkaudio CLKID_AUDIO_RESAMPLE_A>;
		clock-names = "resample_pll", "resample_src", "resample_clk";

		/*same with toddr_src
		 *	TDMIN_A,    0
		 *	TDMIN_B,    1
		 *	TDMIN_C,    2
		 *	SPDIFIN,    3
		 *	PDMIN,      4
		 *	FRATV,      5
		 *	TDMIN_LB,   6
		 *	LOOPBACK_A, 7
		 *	FRHDMIRX,   8
		 *	LOOPBACK_B, 9
		 *	SPDIFIN_LB, 10
		 *	EARC_RX,    11
		 */
		resample_module = <8>;

		status = "okay";
	};

	asrcb:resample@1 {
		compatible = "amlogic, t5-resample-b";
		clocks = <&clkc CLKID_MPLL3
			&clkaudio CLKID_AUDIO_MCLK_F
			&clkaudio CLKID_AUDIO_RESAMPLE_B>;
		clock-names = "resample_pll", "resample_src", "resample_clk";

		/*this resample is only used for loopback_A.*/

		status = "okay";
	};

	vad:vad {
		compatible = "amlogic, snd-vad";
		#sound-dai-cells = <0>;

		clocks = <&clkaudio CLKID_AUDIO_GATE_TOVAD
			&clkc CLKID_FCLK_DIV5
			&clkaudio CLKID_AUDIO_VAD>;
		clock-names = "gate", "pll", "clk";

		interrupts = <GIC_SPI 39 IRQ_TYPE_EDGE_RISING
				GIC_SPI 44 IRQ_TYPE_EDGE_RISING>;
		interrupt-names = "irq_wakeup", "irq_frame_sync";

		/*
		 * Data src sel:
		 * 0: tdmin_a;
		 * 1: tdmin_b;
		 * 2: tdmin_c;
		 * 3: spdifin;
		 * 4: pdmin;
		 * 5: loopback_b;
		 * 6: tdmin_lb;
		 * 7: loopback_a;
		 */
		src = <4>;

		/*
		 * deal with hot word in user space or kernel space
		 * 0: in user space
		 * 1: in kernel space
		 */
		level = <1>;

		status = "okay";
	};

	loopbacka:loopback@0 {
		compatible = "amlogic, p1-loopbacka";
		#sound-dai-cells = <0>;

		clocks = <&clkaudio CLKID_AUDIO_GATE_PDM
			&clkc CLKID_FCLK_DIV3
			&clkc CLKID_MPLL3
			&clkaudio CLKID_AUDIO_PDMIN0
			&clkaudio CLKID_AUDIO_PDMIN1
			&clkc CLKID_MPLL3
			&clkaudio CLKID_AUDIO_MCLK_A>;
		clock-names = "pdm_gate",
			"pdm_sysclk_srcpll",
			"pdm_dclk_srcpll",
			"pdm_dclk",
			"pdm_sysclk",
			"tdminlb_mpll",
			"tdminlb_mclk";

		/* datain src
		 * 0: tdmin_a;
		 * 1: tdmin_b;
		 * 2: tdmin_c;
		 * 3: spdifin;
		 * 4: pdmin;
		 */
		datain_src = <4>;
		datain_chnum = <0>;
		datain_chmask = <0xf>;
		/* config which data pin for loopback */
		datain-lane-mask-in = <1 0 1 0>;

		/* calc mclk for datalb */
		mclk-fs = <256>;

		/* tdmin_lb src
		 * 0: tdmoutA
		 * 1: tdmoutB
		 * 2: tdmoutC
		 * 3: PAD_TDMINA_DIN*, refer to core pinmux
		 * 4: PAD_TDMINB_DIN*, refer to core pinmux
		 * 5: PAD_TDMINC_DIN*, refer to core pinmux
		 * 6: PAD_TDMINA_D*, oe, refer to core pinmux
		 * 7: PAD_TDMINB_D*, oe, refer to core pinmux
		 */
		/* if tdmin_lb >= 3, use external loopback */
		datalb_src = <1>;
		datalb_chnum = <2>;
		datalb_chmask = <0x3>;
		/* config which data pin as loopback */
		datalb-lane-mask-in = <1 0 0 0>;

		status = "okay";
	};

	loopbackb:loopback@1 {
		compatible = "amlogic, p1-loopbackb";
		#sound-dai-cells = <0>;

		clocks = <&clkaudio CLKID_AUDIO_GATE_PDM
			&clkc CLKID_FCLK_DIV3
			&clkc CLKID_MPLL3
			&clkaudio CLKID_AUDIO_PDMIN0
			&clkaudio CLKID_AUDIO_PDMIN1
			&clkc CLKID_MPLL3
			&clkaudio CLKID_AUDIO_MCLK_A>;
		clock-names = "pdm_gate",
			"pdm_sysclk_srcpll",
			"pdm_dclk_srcpll",
			"pdm_dclk",
			"pdm_sysclk",
			"tdminlb_mpll",
			"tdminlb_mclk";

		/* calc mclk for datain_lb */
		mclk-fs = <256>;

		/* datain src
		 * 0: tdmin_a;
		 * 1: tdmin_b;
		 * 2: tdmin_c;
		 * 3: spdifin;
		 * 4: pdmin;
		 */
		datain_src = <4>;
		datain_chnum = <4>;
		datain_chmask = <0xf>;
		/* config which data pin for loopback */
		datain-lane-mask-in = <1 0 1 0>;

		/* tdmin_lb src
		 * 0: tdmoutA
		 * 1: tdmoutB
		 * 2: tdmoutC
		 * 3: PAD_TDMINA_DIN*, refer to core pinmux
		 * 4: PAD_TDMINB_DIN*, refer to core pinmux
		 * 5: PAD_TDMINC_DIN*, refer to core pinmux
		 * 6: PAD_TDMINA_D*, oe, refer to core pinmux
		 * 7: PAD_TDMINB_D*, oe, refer to core pinmux
		 */
		/* if tdmin_lb >= 3, use external loopback */
		datalb_src = <1>;
		datalb_chnum = <2>;
		datalb_chmask = <0x3>;
		/* config which data pin as loopback */
		datalb-lane-mask-in = <1 0 0 0>;

		status = "disabled";
	};
}; /* end of audiobus */

&earc {
	earctx_port = <1>;
	status = "okay";
};

&audio_data {
	status = "okay";
};

&uart_B {
	status = "okay";
};

/*if you want to use vdin just modify status to "ok"*/
&vdin0 {
	/*memory-region = <&vdin0_cma_reserved>;*/
	status = "okay";
	/*MByte, if 10bit disable: 64M(YUV422),
	 *if 10bit enable: 64*1.5 = 96M(YUV422)
	 *if support 4K2K-YUV444-10bit-WR:3840*2160*4*4 ~= 128M
	 *if support 4K2K-YUV422-10bit-wr:3840*2160*3*4 ~= 96M
	 *if support 4K2K-YUV422-8BIT-WR:3840*2160*2*4 ~= 64M
	 *if support 1080p-YUV422-8BIT-WR:1920*1080*2*4 ~= 16M
	 * onebuffer:
	 * worst case:(4096*2160*3 + 2M(afbce issue)) = 27.5M
	 * dw:960x540x3 = 1.5M
	 * total size:(27.5+1.5)x buffernumber
	 */
	cma_size = <330>;
	frame_buff_num = <11>;
};

&vdin1 {
	memory-region = <&vdin1_cma_reserved>;
	status = "okay";
};

/* SDIO */
//&sd_emmc_a {
//	status = "disabled";
//	pinctrl-0 = <&sdio_pins>;
//	pinctrl-1 = <&sdio_clk_gate_pins>;
//	pinctrl-names = "default", "clk-gate";
//	#address-cells = <1>;
//	#size-cells = <0>;
//
//	bus-width = <4>;
//	cap-sd-highspeed;
//	sd-uhs-sdr50;
//	sd_uhs-sdr104;
//	max-frequency = <200000000>;
//
//	non-removable;
//	disable-wp;
//
//	//vmmc-supply = <&vddao_3v3>;
//	//vqmmc-supply = <&vddio_ao1v8>;
//
//	brcmf: wifi@1 {
//		reg = <1>;
//		compatible = "brcm,bcm4329-fmac";
//	};
//};

/* SD Wifi*/
&sd_emmc_b {
	status = "okay";
	pinctrl-0 = <&sd_all_pins>;
 //	pinctrl-1 = <&sd_1bit_pins>;
	pinctrl-1 = <&sd_clk_gate_pins>;
	pinctrl-names = "default",
	//		"sd_1bit_pins",
			"clk-gate";
	bus-width = <4>;
	cap-sd-highspeed;
	sd-uhs-sdr12;
	sd-uhs-sdr25;
	sd-uhs-sdr50;
	sd-uhs-sdr104;
	max-frequency = <200000000>;

	non-removable;
	disable-wp;
 //	amlogic,dram-access-quirk;

 //	cd-gpios = <&gpio GPIOC_10 GPIO_ACTIVE_HIGH>;
	//dat1-gpios = <&gpio GPIOC_1 GPIO_ACTIVE_HIGH>;
	//vmmc-supply = <&vddao_3v3>;
	//vqmmc-supply = <&emmc_1v8>;

 //	brcmf: wifi@1 {
 //		reg = <1>;
 //		compatible = "brcm,bcm4329-fmac";
 //	};
};

/* SD card */
//&sd_emmc_b {
//	status = "okay";
//	pinctrl-0 = <&sd_all_pins>;
//	pinctrl-1 = <&sd_1bit_pins>;
//	pinctrl-2 = <&sd_clk_gate_pins>;
//	pinctrl-names = "sd_default",
//			"sd_1bit_pins",
//			"clk-gate";
//	bus-width = <4>;
//	cap-sd-highspeed;
////	sd-uhs-sdr12;
////	sd-uhs-sdr25;
////	sd-uhs-sdr50;
////	sd_uhs-sdr104;
//	max-frequency = <200000000>;
//
//	disable-wp;
////	amlogic,dram-access-quirk;
//
//	cd-gpios = <&gpio GPIOC_10 GPIO_ACTIVE_HIGH>;
//	//dat1-gpios = <&gpio GPIOC_1 GPIO_ACTIVE_HIGH>;
//	//vmmc-supply = <&vddao_3v3>;
//	//vqmmc-supply = <&emmc_1v8>;
//};

&sd_emmc_c {
	status = "okay";
	pinctrl-0 = <&emmc_pins>, <&emmc_ds_pins>;
	pinctrl-1 = <&emmc_clk_gate_pins>;
	pinctrl-names = "default", "clk-gate";

	bus-width = <8>;
	cap-mmc-highspeed;
	mmc-ddr-1_8v;
	mmc-hs200-1_8v;
	mmc-hs400-1_8v;
	max-frequency = <200000000>;
	non-removable;
	disable-wp;
//	amlogic,dram-access-quirk;

//	mmc-pwrseq = <&emmc_pwrseq>;
//	vmmc-supply = <&vddao_3v3>;
//	vqmmc-supply = <&vddao_1v8>;
};

&periphs_pinctrl {
	/*backlight*/
	bl_pwm_vs_on_pins:bl_pwm_vs_on_pin {
		mux {
			groups = "pwm_vs_h12";
			function = "pwm_vs";
		};
	};
	bl_pwm_off_pins:bl_pwm_off_pin {
		mux {
			groups = "GPIOH_12";
			function = "gpio_periphs";
			output-low;
		};
	};
};

&pwm_cd {
	status = "okay";
};

&ir {
	status = "okay";
	pinctrl-0 = <&remote_pins>;
	pinctrl-names = "default";
};

&vdac {
	cdac_disable = <1>;
};

&saradc {
	status = "okay";
};

&amlvecm {
	status = "okay";
	gamma_en = <1>;/*1:enabel ;0:disable*/
	wb_en = <1>;/*1:enabel ;0:disable*/
	cm_en = <1>;/*1:enabel ;0:disable*/
	wb_sel = <0>;/*1:mtx ;0:gainoff*/
	vlock_en = <1>;/*1:enable;0:disable*/
	ct_3dlut = <0>;
	vlock_mode = <0x8>;
	/*vlock work mode:
	 *bit0:auto ENC
	 *bit1:auto PLL
	 *bit2:manual PLL
	 *bit3:manual ENC
	 *bit4:manual soft ENC
	 *bit5:manual MIX PLL ENC
	 */
	 vlock_pll_m_limit = <1>;
	 vlock_line_limit = <2>;
	interrupts = <0 207 1>;
	interrupt-names = "lc_curve";
};

&crg20 {
	status = "okay";
};

&crg30 {
	status = "okay";
};

&usb2_phy_v2 {
	status = "okay";
	portnum = <3>;
};

&usb3_phy_v2 {
	status = "okay";
	portnum = <0>;
	otg = <0>;
};

&usb2_m31_phy {
	status = "okay";
};

&usb3_m31_phy {
	status = "okay";
	portnum = <1>;
};

&dwc2_a {
	status = "okay";
	/** 0: normal, 1: otg+dwc3 host only, 2: otg+dwc3 device only*/
	controller-type = <1>;
};

&pcie {
	reset-gpio = <&gpio GPIOH_22 GPIO_ACTIVE_HIGH>;
	status = "disable";
};

&i2c1 {
	status = "okay";
	pinctrl-names="default";
	pinctrl-0=<&i2c1_pins1>;

	tas5805: tas5805@2e {
		compatible = "ti,tas5805";
		#sound-dai-cells = <0>;
		codec_name = "tas5805";
		reg = <0x2e>;
		reset_pin = <&gpio GPIOD_9 GPIO_ACTIVE_HIGH>;
		status = "okay";
	};
};

&periphs_pinctrl {
    tdm_b_pins: tdm_b_pin {
		mux { /* GPIOH_16, GPIOH_15, GPIOH_17 */
			groups = "tdm_sclk1_h16",
				"tdm_fs1_h15",
				"tdm_d0_h17";
			function = "tdm";
		};
	};

	tdmout_a_gpio: tdmout_a_gpio {
		mux { /* GPIOH_15, GPIOH_16, GPIOH_17 */
			groups ="GPIOH_15",
				"GPIOH_16",
				"GPIOH_17";
			function = "gpio_periphs";
			output-low;
		};
	};

	pdmin: pdmin {
		mux { /* GPIOH_19, GPIOH_18, GPIOH_14, GPIOH_22 */
			groups = "pdm_dclk_h19",
				"pdm_din0_h18",
				"pdm_din1_h14",
				"pdm_din2_h22";
				function = "pdm";
		};
	};
};

&pinctrl_audio {
	tdm_d0_pins: tdm_d0_pin {
		mux {
			groups = "tdm_d0";
			function = "tdmoutb_lane0";
		};
	};

	tdm_clk_pins: tdm_clk_pin {
		mux {
			groups = "tdm_sclk0", "tdm_lrclk0";
			function = "tdm_clk_outb";
		};
	};
};

&pwm_ef {
	pinctrl-0 = <&pwm_f_pins1>;
	pinctrl-names = "default";
	status = "okay";
};

&uart_A {
	status = "disabled";
	uart-has-rtscts;
};

&aml_wifi{
	status = "okay";
	power_on-gpios = <&gpio   GPIOC_11  GPIO_ACTIVE_HIGH>;
	disable-wifi-32k;
};

&aml_bt {
	status = "okay";
};

&spicc0 {	//for TCON
	status = "disabled";
	pinctrl-names = "default";
	pinctrl-0 = <&spicc0_pins_h>;
	cs-gpios = <&gpio GPIOH_8 GPIO_ACTIVE_HIGH>;
};

&spicc1 {	//for UWB/LocalDimm
	status = "disabled";
	pinctrl-names = "default";
	pinctrl-0 = <&spicc1_pins>;
	cs-gpios = <&gpio GPIOH_24 GPIO_ACTIVE_HIGH>;
};

&spicc2 {
	status = "disabled";
	pinctrl-names = "default";
	pinctrl-0 = <&spicc2_pins>;
	cs-gpios = <&gpio GPIOC_3 GPIO_ACTIVE_HIGH>;
};

&meson_suspend {
	vad_wakeup_disable = <0x0>;
	vddio3v3_en = <&gpio GPIOD_10 GPIO_ACTIVE_HIGH>;
	p5v_en = <&gpio GPIO_TEST_N GPIO_ACTIVE_HIGH>;
};
